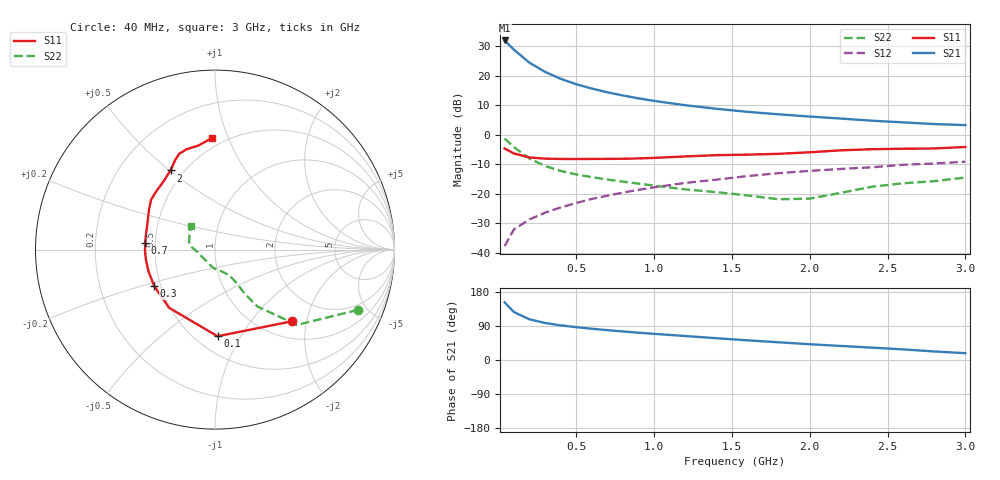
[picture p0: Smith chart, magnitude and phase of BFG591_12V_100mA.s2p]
! Filename:  BFG591J.S2P  Version:  4.0
! Philips part #: BFG591  Date: Jun 1994
! Bias condition: Vce=12V; Ic=100mA
#  MHz  S  MA  R  50
! Freq  S11  S21  S12  S22  !GUM [dB]
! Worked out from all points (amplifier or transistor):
!   21 points, 40 MHz to 3 GHz, reference 50 ohm
!   highest |S21| = 32.0 dB at 40 MHz (marker M1)
!   |S21| within 3 dB of that: start of sweep to 97.42 MHz
!   unconditionally stable (mu >= 1): 589.1 MHz to 2.174 GHz
!   at 300 MHz: K = 0.85, MSG = 23.8 dB, |S12| = -26.4 dB
!   at 1 GHz: K = 1.05, MAG = 13.3 dB, |S12| = -17.8 dB
!   at 3 GHz: K = 0.95, MSG = 6.2 dB, |S12| = -9.1 dB
!   S11 on the Smith chart (normalised r, x): 40 MHz: 1.35, -1.64; 100 MHz: 0.64, -0.80; 300 MHz: 0.46, -0.22; 700 MHz: 0.44, +0.04; 2 GHz: 0.42, +0.50; 3 GHz: 0.43, +0.87
40  0.586 -43.0  39.59 152.1  0.013 71.7  0.864 -22.9
100  0.483 -88.3  27.6 126.5  0.025 61.5  0.62 -42.6
200  0.413 -128.3  16.61 107.3  0.037 60.2  0.395 -53.3
300  0.395 -149.0  11.62 97.7  0.048 62.5  0.296 -56.0
400  0.39 -162.0  8.886 91.4  0.059 64.8  0.244 -56.8
500  0.389 -171.2  7.192 86.6  0.07 66.2  0.213 -57.6
600  0.39 -178.8  6.069 82.5  0.082 66.7  0.192 -58.7
700  0.391 174.9  5.246 78.8  0.093 67.2  0.175 -60.1
800  0.393 168.8  4.631 75.3  0.105 67.2  0.161 -61.9
900  0.398 162.8  4.145 72.0  0.117 67.2  0.149 -64.7
1000  0.406 157.6  3.753 69.0  0.129 66.7  0.138 -68.4
1200  0.43 148.8  3.169 63.3  0.153 65.3  0.119 -78.3
1400  0.452 141.9  2.76 57.5  0.174 63.4  0.107 -90.2
1600  0.461 135.2  2.446 51.9  0.2 62.1  0.094 -103.6
1800  0.476 127.1  2.223 46.7  0.224 59.0  0.081 -121.9
2000  0.506 119.3  2.037 41.6  0.245 57.1  0.083 -152.1
2200  0.546 114.0  1.884 37.1  0.264 54.9  0.104 -175.6
2400  0.57 110.5  1.732 32.6  0.282 53.9  0.132 173.4
2600  0.581 105.9  1.623 28.0  0.311 50.2  0.151 163.3
2800  0.587 99.1  1.52 22.5  0.327 46.2  0.164 150.1
3000  0.622 91.6  1.458 18.0  0.35 44.7  0.189 135.0
